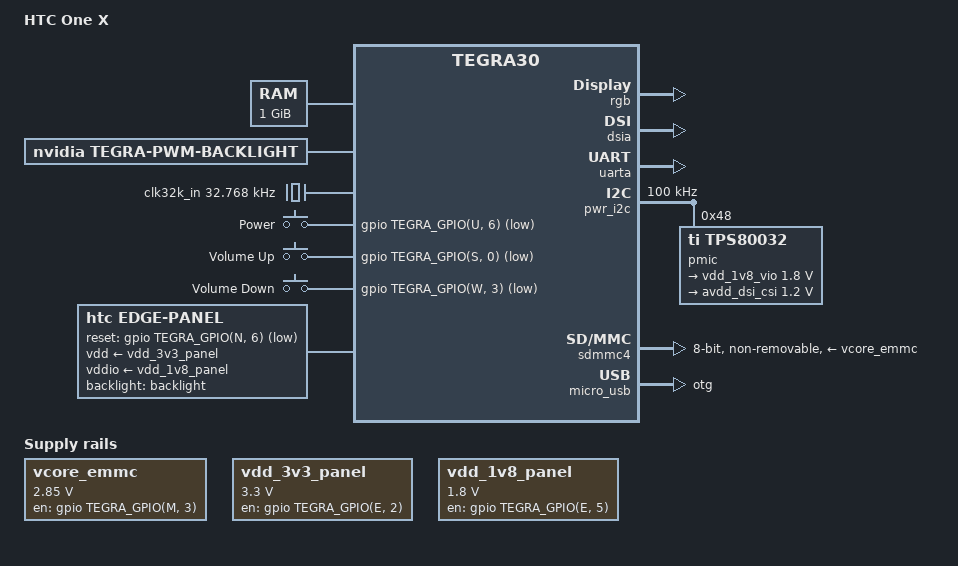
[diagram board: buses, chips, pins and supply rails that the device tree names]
// SPDX-License-Identifier: GPL-2.0
/dts-v1/;

/* This dts file describes the HTC One X smartphone */
/* CPU Speedo ID 4, Soc Speedo ID 1, CPU Process: 1, Core Process: 0 */

#include <dt-bindings/input/input.h>
#include "tegra30.dtsi"

/ {
	model = "HTC One X";
	compatible = "htc,endeavoru", "nvidia,tegra30";

	chosen {
		stdout-path = &uarta;
	};

	aliases {
		i2c0 = &pwr_i2c;

		mmc0 = &sdmmc4;	/* eMMC */

		rtc0 = &pmic;
		rtc1 = "/rtc@7000e000";

		usb0 = &micro_usb;
	};

	memory {
		device_type = "memory";
		reg = <0x80000000 0x40000000>;
	};

	host1x@50000000 {
		dc@54200000 {
			clocks = <&tegra_car TEGRA30_CLK_DISP1>,
				 <&tegra_car TEGRA30_CLK_PLL_D_OUT0>;

			rgb {
				status = "okay";

				nvidia,panel = <&dsia>;
			};
		};

		dsia: dsi@54300000 {
			status = "okay";

			avdd-dsi-csi-supply = <&avdd_dsi_csi>;

			panel = <&panel>;
		};
	};

	uarta: serial@70006000 {
		status = "okay";
	};

	pwr_i2c: i2c@7000d000 {
		status = "okay";
		clock-frequency = <100000>;

		/* Texas Instruments TPS80032 PMIC */
		pmic: tps80032@48 {
			compatible = "ti,tps80032";
			reg = <0x48>;

			ti,system-power-controller;

			regulators {
				vdd_1v8_vio: smps5 {
					regulator-name = "vdd_1v8_gen";
					regulator-min-microvolt = <1800000>;
					regulator-max-microvolt = <1800000>;
					regulator-always-on;
					regulator-boot-on;
				};

				/* DSI VDD */
				avdd_dsi_csi: ldo1 {
					regulator-name = "avdd_dsi_csi";
					regulator-min-microvolt = <1200000>;
					regulator-max-microvolt = <1200000>;
				};
			};
		};
	};

	sdmmc4: sdhci@78000600 {
		status = "okay";
		bus-width = <8>;
		non-removable;

		vmmc-supply = <&vcore_emmc>;
		vqmmc-supply = <&vdd_1v8_vio>;
	};

	micro_usb: usb@7d000000 {
		status = "okay";
		dr_mode = "otg";
	};

	backlight: backlight {
		compatible = "nvidia,tegra-pwm-backlight";

		nvidia,pwm-source = <1>;
		nvidia,default-brightness = <0x8E>;
	};

	/* PMIC has a built-in 32KHz oscillator which is used by PMC */
	clk32k_in: clock-32k {
		compatible = "fixed-clock";
		#clock-cells = <0>;
		clock-frequency = <32768>;
		clock-output-names = "pmic-oscillator";
	};

	gpio-keys {
		compatible = "gpio-keys";

		key-power {
			label = "Power";
			gpios = <&gpio TEGRA_GPIO(U, 6) GPIO_ACTIVE_LOW>;
			linux,code = <KEY_ENTER>;
		};

		key-volume-up {
			label = "Volume Up";
			gpios = <&gpio TEGRA_GPIO(S, 0) GPIO_ACTIVE_LOW>;
			linux,code = <KEY_UP>;
		};

		key-volume-down {
			label = "Volume Down";
			gpios = <&gpio TEGRA_GPIO(W, 3) GPIO_ACTIVE_LOW>;
			linux,code = <KEY_DOWN>;
		};
	};

	panel: panel {
		compatible = "htc,edge-panel";

		reset-gpios = <&gpio TEGRA_GPIO(N, 6) GPIO_ACTIVE_LOW>;

		vdd-supply = <&vdd_3v3_panel>;
		vddio-supply = <&vdd_1v8_panel>;

		backlight = <&backlight>;
	};

	vcore_emmc: regulator-emmc {
		compatible = "regulator-fixed";
		regulator-name = "vdd_2v85_sdmmc";
		regulator-min-microvolt = <2850000>;
		regulator-max-microvolt = <2850000>;
		gpio = <&gpio TEGRA_GPIO(M, 3) GPIO_ACTIVE_HIGH>;
		enable-active-high;
	};

	vdd_3v3_panel: regulator-lcm {
		compatible = "regulator-fixed";
		regulator-name = "v_lcm_3v3";
		regulator-min-microvolt = <3300000>;
		regulator-max-microvolt = <3300000>;
		gpio = <&gpio TEGRA_GPIO(E, 2) GPIO_ACTIVE_HIGH>;
		enable-active-high;
	};

	vdd_1v8_panel: regulator-lcmio {
		compatible = "regulator-fixed";
		regulator-name = "v_lcmio_1v8";
		regulator-min-microvolt = <1800000>;
		regulator-max-microvolt = <1800000>;
		gpio = <&gpio TEGRA_GPIO(E, 5) GPIO_ACTIVE_HIGH>;
		enable-active-high;
	};
};
